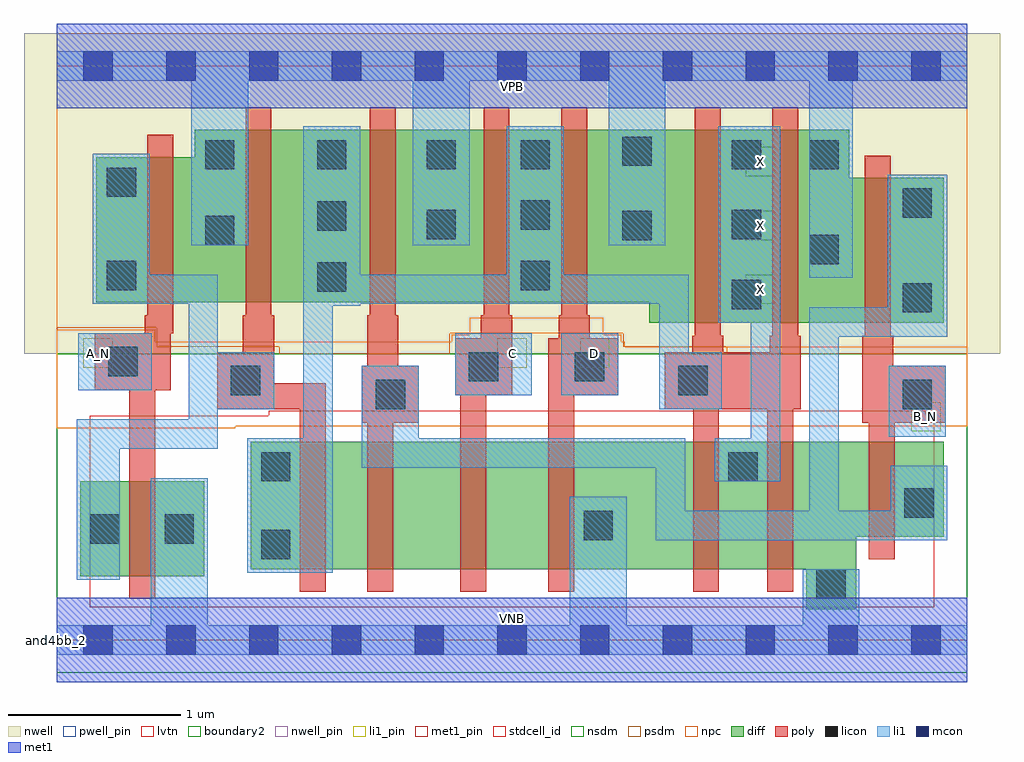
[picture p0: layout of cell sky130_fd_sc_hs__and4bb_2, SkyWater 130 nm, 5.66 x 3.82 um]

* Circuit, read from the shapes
.subckt sky130_fd_sc_hs__and4bb_2 A_N B_N C D VGND VNB VPB VPWR X
XM1 VGND A_N n1 VNB sky130_fd_pr__nfet_01v8_lvt w=0.55 l=0.15
XM2 n2 n1 n3 VNB sky130_fd_pr__nfet_01v8_lvt w=0.74 l=0.15
XM3 n4 n5 n2 VNB sky130_fd_pr__nfet_01v8_lvt w=0.74 l=0.15
XM4 n6 C n4 VNB sky130_fd_pr__nfet_01v8_lvt w=0.74 l=0.15
XM5 VGND D n6 VNB sky130_fd_pr__nfet_01v8_lvt w=0.74 l=0.15
XM6 X n3 VGND VNB sky130_fd_pr__nfet_01v8_lvt w=0.74 l=0.15 m=2
XM7 n5 B_N VGND VNB sky130_fd_pr__nfet_01v8_lvt w=0.55 l=0.15
XM8 VPWR A_N n1 VPB sky130_fd_pr__pfet_01v8 w=0.84 l=0.15
XM9 n3 n1 VPWR VPB sky130_fd_pr__pfet_01v8 w=1 l=0.15
XM10 VPWR n5 n3 VPB sky130_fd_pr__pfet_01v8 w=1 l=0.15
XM11 n3 C VPWR VPB sky130_fd_pr__pfet_01v8 w=1 l=0.15
XM12 VPWR D n3 VPB sky130_fd_pr__pfet_01v8 w=1 l=0.15
XM13 X n3 VPWR VPB sky130_fd_pr__pfet_01v8 w=1.12 l=0.15 m=2
XM14 n5 B_N VPWR VPB sky130_fd_pr__pfet_01v8 w=0.84 l=0.15
.ends

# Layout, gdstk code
import gdstk
lib = gdstk.Library(unit=1e-6, precision=1e-09)
def R(c, l, rs):  # rectangles x0, y0, x1, y1
    for r in rs: c.add(gdstk.rectangle(r[:2], r[2:], *l))
def A(c, l, x, y, w, h, nx, ny, dx, dy):  # array of equal rectangles
    R(c, l, [(x+i*dx, y+j*dy, x+i*dx+w, y+j*dy+h) for i in range(nx) for j in range(ny)])
def P(c, l, *ps):  # polygons
    for p in ps: c.add(gdstk.Polygon(p, *l))
nwell_pin = (64, 16)
nwell = (64, 20)
diff = (65, 20)
poly = (66, 20)
licon = (66, 44)
li1_pin = (67, 16)
li1 = (67, 20)
mcon = (67, 44)
met1_pin = (68, 16)
met1 = (68, 20)
stdcell_id = (81, 4)
nsdm = (93, 44)
psdm = (94, 20)
npc = (95, 20)
pwell_pin = (122, 16)
lvtn = (125, 44)
boundary2 = (236, 0)

sky130_fd_sc_hs__and4bb_ = lib.new_cell('sky130_fd_sc_hs__and4bb_2')
R(sky130_fd_sc_hs__and4bb_, nwell_pin, [(0,3.085,5.28,3.33)])
R(sky130_fd_sc_hs__and4bb_, nwell, [(-0.19,1.66,5.47,3.52)])
R(sky130_fd_sc_hs__and4bb_, diff, [(0.135,0.37,0.855,0.92)])
P(sky130_fd_sc_hs__and4bb_, diff, [(5.145,2.68),(4.595,2.68),(4.595,2.96),(0.8,2.96),(0.8,2.8),(0.23,2.8),(0.23,1.96),(3.435,1.96),(3.435,1.84),(5.145,1.84)],
  [(5.145,1.15),(1.125,1.15),(1.125,0.41),(4.345,0.41),(4.345,0.18),(4.635,0.18),(4.635,0.6),(5.145,0.6)])
P(sky130_fd_sc_hs__and4bb_, poly, [(2.1,1.59),(1.98,1.59),(1.98,1.885),(1.965,1.885),(1.965,3.09),(1.815,3.09),(1.815,1.885),(1.8,1.885),(1.8,1.59),(1.77,1.59),(1.77,1.26),(1.8,1.26),(1.8,0.28),(1.95,0.28),(1.95,1.26),(2.1,1.26)],
  [(2.64,1.885),(2.625,1.885),(2.625,3.09),(2.475,3.09),(2.475,1.885),(2.46,1.885),(2.46,1.75),(2.31,1.75),(2.31,1.42),(2.34,1.42),(2.34,0.28),(2.49,0.28),(2.49,1.42),(2.64,1.42)],
  [(3.255,1.75),(3.09,1.75),(3.09,1.885),(3.075,1.885),(3.075,3.09),(2.925,3.09),(2.925,1.885),(2.91,1.885),(2.91,1.75),(2.85,1.75),(2.85,0.28),(3,0.28),(3,1.42),(3.255,1.42)],
  [(4.315,1.765),(4.3,1.765),(4.3,3.09),(4.15,3.09),(4.15,1.765),(4.135,1.765),(4.135,1.67),(3.865,1.67),(3.865,1.765),(3.85,1.765),(3.85,3.09),(3.7,3.09),(3.7,1.765),(3.685,1.765),(3.685,1.67),(3.525,1.67),(3.525,1.34),(3.69,1.34),(3.69,0.28),(3.84,0.28),(3.84,1.34),(4.12,1.34),(4.12,0.28),(4.27,0.28),(4.27,1.34),(4.315,1.34)],
  [(5.155,1.59),(4.85,1.59),(4.85,1.765),(4.835,1.765),(4.835,2.81),(4.685,2.81),(4.685,1.765),(4.67,1.765),(4.67,1.26),(4.71,1.26),(4.71,0.47),(4.86,0.47),(4.86,1.26),(5.155,1.26)],
  [(1.56,1.49),(1.26,1.49),(1.26,1.885),(1.245,1.885),(1.245,3.09),(1.095,3.09),(1.095,1.885),(1.08,1.885),(1.08,1.67),(0.93,1.67),(0.93,1.34),(1.41,1.34),(1.41,0.28),(1.56,0.28)],
  [(0.675,2.93),(0.525,2.93),(0.525,1.885),(0.51,1.885),(0.51,1.78),(0.22,1.78),(0.22,1.45),(0.42,1.45),(0.42,0.24),(0.57,0.24),(0.57,1.45),(0.66,1.45),(0.66,1.78),(0.675,1.78)])
A(sky130_fd_sc_hs__and4bb_, licon, 3.915, 1.92, 0.17, 0.17, 1, 3, 0, 0.405)
A(sky130_fd_sc_hs__and4bb_, licon, 1.51, 2.02, 0.17, 0.17, 1, 3, 0, 0.355)
A(sky130_fd_sc_hs__and4bb_, licon, 2.69, 2.03, 0.17, 0.17, 1, 3, 0, 0.35)
R(sky130_fd_sc_hs__and4bb_, licon, [(4.405,0.24,4.575,0.41), (1.185,0.47,1.355,0.64), (0.195,0.56,0.365,0.73), (0.625,0.56,0.795,0.73), (3.055,0.58,3.225,0.75), (4.915,0.71,5.085,0.88), (1.185,0.92,1.355,1.09), (3.895,0.92,4.065,1.09), (1.85,1.34,2.02,1.51), (4.905,1.34,5.075,1.51), (1.01,1.42,1.18,1.59), (3.605,1.42,3.775,1.59), (2.39,1.5,2.56,1.67), (3.005,1.5,3.175,1.67), (0.3,1.53,0.47,1.7), (4.905,1.9,5.075,2.07), (0.29,2.03,0.46,2.2), (4.365,2.18,4.535,2.35), (0.86,2.29,1.03,2.46), (3.28,2.32,3.45,2.49), (2.145,2.325,2.315,2.495), (4.905,2.45,5.075,2.62), (0.29,2.57,0.46,2.74), (0.86,2.73,1.03,2.9), (2.145,2.73,2.315,2.9), (4.365,2.73,4.535,2.9), (3.28,2.75,3.45,2.92)])
A(sky130_fd_sc_hs__and4bb_, li1_pin, 3.995, 1.95, 0.17, 0.17, 1, 3, 0, 0.37)
R(sky130_fd_sc_hs__and4bb_, li1_pin, [(4.955,1.21,5.125,1.38), (0.155,1.58,0.325,1.75), (2.555,1.58,2.725,1.75), (3.035,1.58,3.205,1.75)])
R(sky130_fd_sc_hs__and4bb_, li1, [(4.825,1.18,5.155,1.59), (2.31,1.42,2.755,1.78), (2.925,1.42,3.255,1.78), (0.125,1.45,0.55,1.78)])
P(sky130_fd_sc_hs__and4bb_, li1, [(2.065,2.29),(2.065,3.245),(1.11,3.245),(1.11,2.29),(0.78,2.29),(0.78,3.245),(0,3.245),(0,3.415),(5.28,3.415),(5.28,3.245),(4.615,3.245),(4.615,2.1),(4.365,2.1),(4.365,3.245),(3.53,3.245),(3.53,2.29),(3.2,2.29),(3.2,3.245),(2.395,3.245),(2.395,2.29)],
  [(4.325,0.085),(4.325,0.41),(4.655,0.41),(4.655,0.085),(5.28,0.085),(5.28,-0.085),(0,-0.085),(0,0.085),(0.545,0.085),(0.545,0.94),(0.875,0.94),(0.875,0.085),(2.975,0.085),(2.975,0.83),(3.305,0.83),(3.305,0.085)],
  [(3.835,1.84),(3.835,2.98),(4.195,2.98),(4.195,0.92),(3.815,0.92),(3.815,1.17),(4.025,1.17),(4.025,1.84)],
  [(1.76,2.12),(2.61,2.12),(2.61,2.98),(2.94,2.98),(2.94,2.12),(3.665,2.12),(3.665,1.67),(3.855,1.67),(3.855,1.34),(3.495,1.34),(3.495,1.95),(1.76,1.95),(1.76,1.94),(1.6,1.94),(1.6,0.39),(1.105,0.39),(1.105,1.17),(1.43,1.17),(1.43,2.98),(1.76,2.98)],
  [(2.1,1.17),(3.645,1.17),(3.645,0.75),(4.365,0.75),(4.365,1.93),(4.82,1.93),(4.82,2.7),(5.165,2.7),(5.165,1.76),(4.535,1.76),(4.535,0.75),(4.835,0.75),(4.835,1.01),(5.165,1.01),(5.165,0.58),(3.475,0.58),(3.475,1),(1.77,1),(1.77,1.59),(2.1,1.59)],
  [(0.115,1.28),(0.765,1.28),(0.765,1.95),(0.21,1.95),(0.21,2.82),(0.54,2.82),(0.54,2.12),(0.935,2.12),(0.935,1.67),(1.26,1.67),(1.26,1.34),(0.935,1.34),(0.935,1.11),(0.365,1.11),(0.365,0.35),(0.115,0.35)])
A(sky130_fd_sc_hs__and4bb_, mcon, 0.155, -0.085, 0.17, 0.17, 11, 2, 0.48, 3.33)
R(sky130_fd_sc_hs__and4bb_, met1_pin, [(0,0,5.28,0.245), (0,3.085,5.28,3.33)])
R(sky130_fd_sc_hs__and4bb_, met1, [(0,-0.245,5.28,0.245), (0,3.085,5.28,3.575)])
R(sky130_fd_sc_hs__and4bb_, stdcell_id, [(0,0,5.28,3.33)])
R(sky130_fd_sc_hs__and4bb_, nsdm, [(0,-0.19,5.28,1.66)])
P(sky130_fd_sc_hs__and4bb_, psdm, [(5.28,3.52),(0,3.52),(0,1.81),(0.58,1.81),(0.58,1.7),(1.29,1.7),(1.29,1.66),(2.28,1.66),(2.28,1.78),(3.285,1.78),(3.285,1.7),(3.885,1.7),(3.885,1.66),(5.28,1.66)])
P(sky130_fd_sc_hs__and4bb_, npc, [(5.28,1.7),(3.295,1.7),(3.295,1.73),(3.275,1.73),(3.275,1.77),(3.17,1.77),(3.17,1.87),(2.395,1.87),(2.395,1.77),(2.29,1.77),(2.29,1.73),(0.57,1.73),(0.57,1.8),(0,1.8),(0,1.23),(1.035,1.23),(1.035,1.24),(5.28,1.24)])
R(sky130_fd_sc_hs__and4bb_, pwell_pin, [(0,0,5.28,0.245)])
P(sky130_fd_sc_hs__and4bb_, lvtn, [(5.09,1.3),(5.04,1.3),(5.04,1.33),(1.23,1.33),(1.23,1.3),(0.19,1.3),(0.19,0.19),(5.09,0.19)])
R(sky130_fd_sc_hs__and4bb_, boundary2, [(0,0,5.28,3.33)])
sky130_fd_sc_hs__and4bb_.add(gdstk.Label('and4bb_2', (0,0), layer=83, texttype=44))
sky130_fd_sc_hs__and4bb_.add(gdstk.Label('VNB', (2.64,0.123), layer=64, texttype=59))
sky130_fd_sc_hs__and4bb_.add(gdstk.Label('VPB', (2.64,3.208), layer=64, texttype=5))
sky130_fd_sc_hs__and4bb_.add(gdstk.Label('VPWR', (2.64,3.208), layer=68, texttype=5))
sky130_fd_sc_hs__and4bb_.add(gdstk.Label('VGND', (2.64,0.123), layer=68, texttype=5))
sky130_fd_sc_hs__and4bb_.add(gdstk.Label('X', (4.08,2.035), layer=67, texttype=5))
sky130_fd_sc_hs__and4bb_.add(gdstk.Label('X', (4.08,2.405), layer=67, texttype=5))
sky130_fd_sc_hs__and4bb_.add(gdstk.Label('X', (4.08,2.775), layer=67, texttype=5))
sky130_fd_sc_hs__and4bb_.add(gdstk.Label('B_N', (5.04,1.295), layer=67, texttype=5))
sky130_fd_sc_hs__and4bb_.add(gdstk.Label('A_N', (0.24,1.665), layer=67, texttype=5))
sky130_fd_sc_hs__and4bb_.add(gdstk.Label('D', (3.12,1.665), layer=67, texttype=5))
sky130_fd_sc_hs__and4bb_.add(gdstk.Label('C', (2.64,1.665), layer=67, texttype=5))

lib.write_gds('sky130_fd_sc_hs__and4bb_2.gds')
